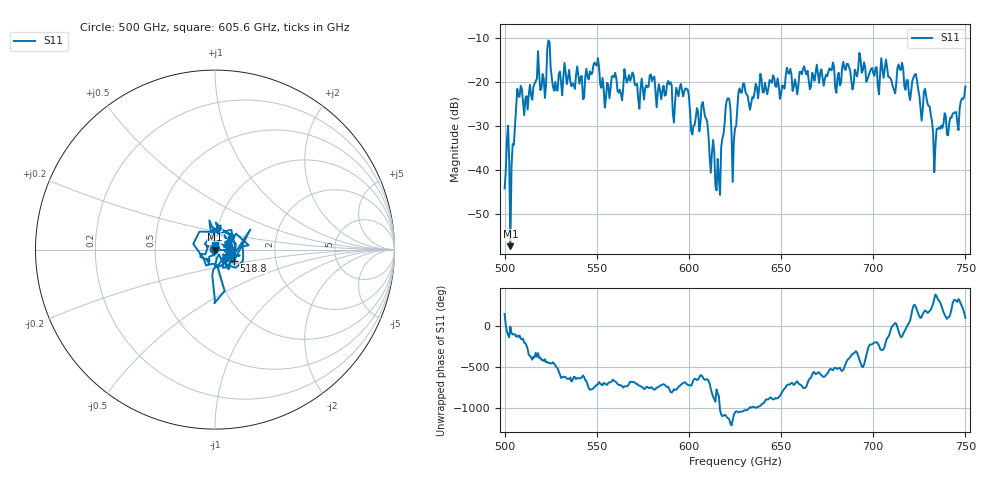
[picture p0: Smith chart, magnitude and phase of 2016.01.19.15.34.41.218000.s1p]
!Created with skrf (http://scikit-rf.org).
# GHz S RI R 50.0
!freq ReS11 ImS11
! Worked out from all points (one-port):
!   401 points, 500 GHz to 750 GHz, reference 50 ohm
!   lowest |S11| = -57.2 dB at 503.1 GHz (marker M1), VSWR 1.00, Z = 50.1 - j0.0189 ohm
!   |S11| at or under -10 dB: start of sweep to end of sweep
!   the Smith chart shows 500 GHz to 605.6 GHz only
!   S11 on the Smith chart (normalised r, x): 500 GHz: 0.99, +0.01; 518.8 GHz: 1.23, -0.15; 605.6 GHz: 1.00, +0.06
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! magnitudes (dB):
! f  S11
! 500 GHz  -44.1
! 503.1 GHz  -57.2
! 508.1 GHz  -23.3
! 518.8 GHz  -18.2
! 521.2 GHz  -19.2
! 524.4 GHz  -10.8
! 527.5 GHz  -19.9
! 531.2 GHz  -22.9
! 541.9 GHz  -18.5
! 549.4 GHz  -16.0
! 553.8 GHz  -21.5
! 562.5 GHz  -21.6
! 593.8 GHz  -22.3
! 605.6 GHz  -31.1
! 608.8 GHz  -27.8
! 615.6 GHz  -37.4
! 621.2 GHz  -23.6
! 625 GHz  -30.4
! 628.8 GHz  -22.3
! 656.2 GHz  -22.0
! 687.5 GHz  -17.4
! 705.6 GHz  -19.0
! 711.2 GHz  -21.7
! 715 GHz  -17.2
! 718.8 GHz  -19.5
! 728.8 GHz  -23.1
! 733.8 GHz  -34.4
! 750 GHz  -20.9
